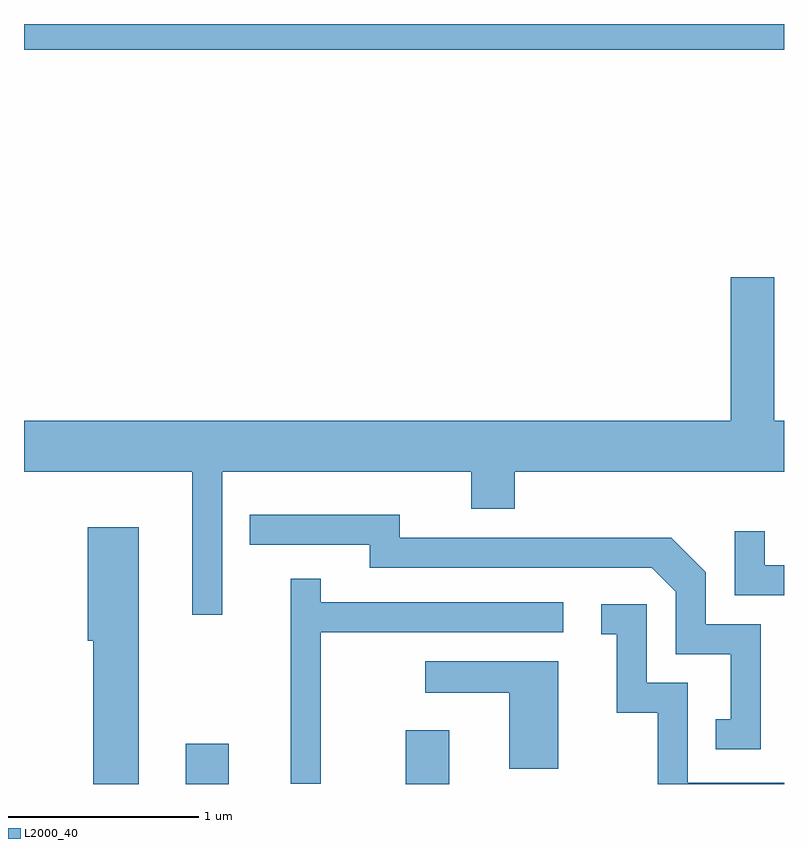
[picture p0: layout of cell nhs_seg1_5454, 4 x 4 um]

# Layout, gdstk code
import gdstk
lib = gdstk.Library(unit=1e-6, precision=1e-09)
def R(c, l, rs):  # rectangles x0, y0, x1, y1
    for r in rs: c.add(gdstk.rectangle(r[:2], r[2:], *l))
def P(c, l, *ps):  # polygons
    for p in ps: c.add(gdstk.Polygon(p, *l))
L2000_40 = (2000, 40)

nhs_seg1_5454 = lib.new_cell('nhs_seg1_5454')
R(nhs_seg1_5454, L2000_40, [(350.461,895.712,350.689,895.924), (351.621,895.712,351.849,895.994), (349.611,899.576,353.611,899.712)])
P(nhs_seg1_5454, L2000_40, [(350.654,897.356),(351.966,897.356),(351.966,897.161),(352.194,897.161),(352.194,897.356),(353.611,897.356),(353.611,897.624),(353.559,897.624),(353.559,898.379),(353.331,898.379),(353.331,897.624),(349.611,897.624),(349.611,897.356),(350.496,897.356),(350.496,896.603),(350.654,896.603)],
  [(353.489,896.554),(353.199,896.554),(353.199,896.827),(353.017,897.009),(351.589,897.009),(351.589,897.129),(350.798,897.129),(350.798,896.971),(351.431,896.971),(351.431,896.851),(352.914,896.851),(353.041,896.724),(353.041,896.396),(353.331,896.396),(353.331,896.054),(353.253,896.054),(353.253,895.896),(353.489,895.896)],
  [(350.214,897.064),(349.946,897.064),(349.946,896.466),(349.976,896.466),(349.976,895.712),(350.214,895.712)],
  [(353.611,896.864),(353.509,896.864),(353.509,897.043),(353.351,897.043),(353.351,896.706),(353.611,896.706)],
  [(351.174,896.511),(352.448,896.511),(352.448,896.669),(351.174,896.669),(351.174,896.793),(351.016,896.793),(351.016,895.713),(351.174,895.713)],
  [(353.611,895.719),(353.104,895.719),(353.104,896.244),(352.889,896.244),(352.889,896.659),(352.648,896.659),(352.648,896.501),(352.731,896.501),(352.731,896.086),(352.946,896.086),(352.946,895.712),(353.611,895.712)],
  [(352.424,896.359),(351.723,896.359),(351.723,896.191),(352.166,896.191),(352.166,895.791),(352.424,895.791)])

lib.write_gds('nhs_seg1_5454.gds')
